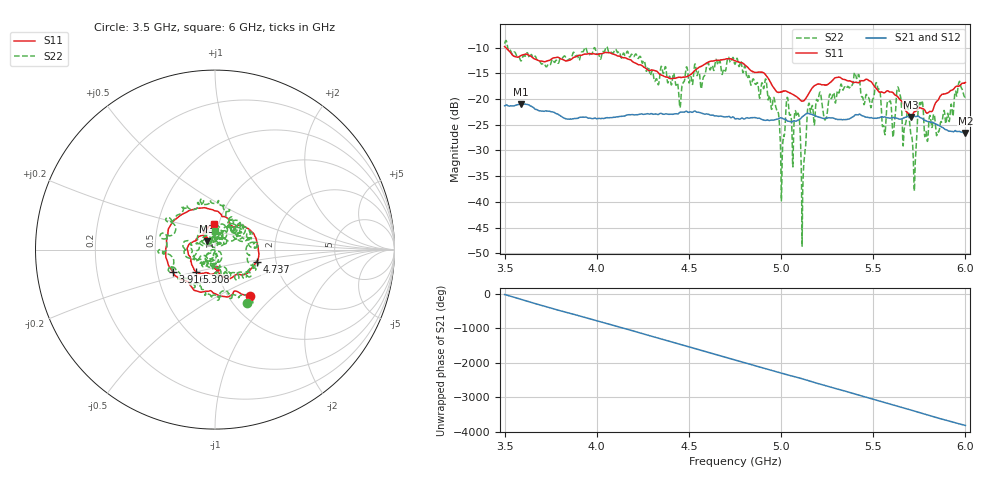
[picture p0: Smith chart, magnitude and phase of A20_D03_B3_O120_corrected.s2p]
! Created with skrf 1.9.0 (http://scikit-rf.org).
# Hz S RI R 50.0
!freq ReS11 ImS11 ReS21 ImS21 ReS12 ImS12 ReS22 ImS22
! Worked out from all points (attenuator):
!   1601 points, 3.5 GHz to 6 GHz, reference 50 ohm
!   highest |S21| = -20.95 dB at 3.591 GHz (marker M1); lowest = -26.6 dB at 6 GHz (marker M2)
!   lowest |S11| = -23.5 dB at 5.703 GHz (marker M3), VSWR 1.14, Z = 45.4 + j4.45 ohm
!   |S11| at or under -10 dB: 3.506 GHz to end of sweep
!   |S22| runs from -48.6 to -8.6 dB; largest |S21 - S12| = 0.001
!   S11 on the Smith chart (normalised r, x): 3.5 GHz: 1.26, -0.72; 3.916 GHz: 0.60, -0.16; 4.737 GHz: 1.58, -0.23; 5.308 GHz: 0.79, -0.20; 6 GHz: 0.95, +0.28
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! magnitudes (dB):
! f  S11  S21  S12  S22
! 3.5 GHz  -9.8  -21.3  -21.3  -9.2
! 3.591 GHz  -11.5  -20.9  -20.9  -12.6
! 3.916 GHz  -11.5  -23.6  -23.5  -11.1
! 3.917 GHz  -11.5  -23.5  -23.5  -10.9
! 4.334 GHz  -14.9  -23.0  -22.9  -17.2
! 4.737 GHz  -12.3  -23.5  -23.6  -12.0
! 4.75 GHz  -12.6  -23.9  -23.8  -13.3
! 4.969 GHz  -18.3  -24.0  -24.0  -21.2
! 5.006 GHz  -18.6  -23.7  -23.7  -31.3
! 5.034 GHz  -18.6  -24.3  -24.2  -19.7
! 5.088 GHz  -19.6  -24.2  -24.2  -23.2
! 5.119 GHz  -20.4  -23.4  -23.3  -36.3
! 5.145 GHz  -19.3  -22.8  -22.8  -21.6
! 5.167 GHz  -17.9  -23.0  -23.0  -21.4
! 5.308 GHz  -15.8  -24.0  -23.9  -18.4
! 5.558 GHz  -18.8  -23.5  -23.5  -25.3
! 5.584 GHz  -18.5  -23.7  -23.7  -20.4
! 5.703 GHz  -23.5  -23.5  -23.4  -26.6
! 5.723 GHz  -22.5  -23.4  -23.3  -37.9
! 5.756 GHz  -21.7  -23.6  -23.6  -21.1
! 5.787 GHz  -22.7  -24.3  -24.2  -26.4
! 6 GHz  -16.8  -26.6  -26.6  -19.6
